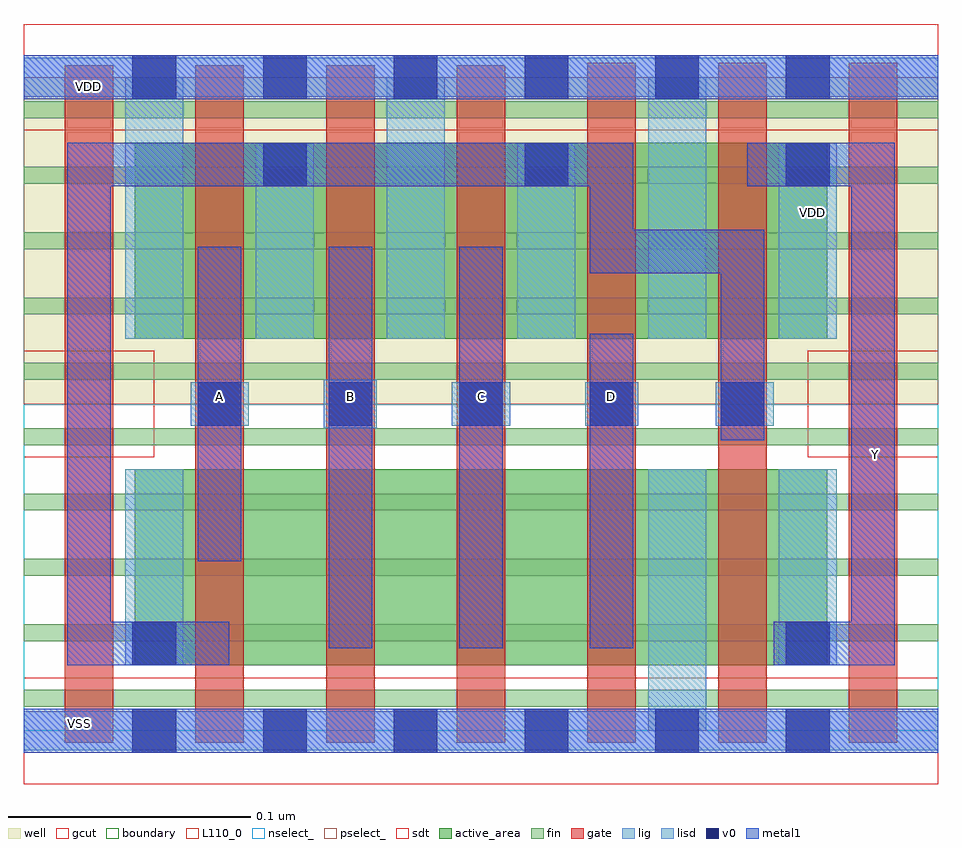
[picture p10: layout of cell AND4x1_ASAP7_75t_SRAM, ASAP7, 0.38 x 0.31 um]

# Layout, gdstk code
import gdstk
lib = gdstk.Library(unit=1e-6, precision=1e-09)
def R(c, l, rs):  # rectangles x0, y0, x1, y1
    for r in rs: c.add(gdstk.rectangle(r[:2], r[2:], *l))
def A(c, l, x, y, w, h, nx, ny, dx, dy):  # array of equal rectangles
    R(c, l, [(x+i*dx, y+j*dy, x+i*dx+w, y+j*dy+h) for i in range(nx) for j in range(ny)])
def P(c, l, *ps):  # polygons
    for p in ps: c.add(gdstk.Polygon(p, *l))
well = (1, 0)
fin = (2, 0)
gate = (7, 0)
gcut = (10, 0)
active_area = (11, 0)
nselect_ = (12, 0)
pselect_ = (13, 0)
lig = (16, 0)
lisd = (17, 0)
v0 = (18, 0)
metal1 = (19, 0)
sdt = (88, 0)
boundary = (100, 0)
L110_0 = (110, 0)

and4x1_asap7_75t_sram = lib.new_cell('AND4x1_ASAP7_75t_SRAM')
R(and4x1_asap7_75t_sram, well, [(0,0.135,0.378,0.27)])
A(and4x1_asap7_75t_sram, fin, 0, 0.01, 0.378, 0.007, 1, 10, 0, 0.027)
A(and4x1_asap7_75t_sram, gate, 0.017, -0.005, 0.02, 0.28, 4, 1, 0.054, 0)
A(and4x1_asap7_75t_sram, gate, 0.233, -0.005, 0.02, 0.281, 3, 1, 0.054, 0)
R(and4x1_asap7_75t_sram, gcut, [(0,-0.022,0.378,0.022), (0,0.113,0.054,0.157), (0.324,0.113,0.378,0.157), (0,0.248,0.378,0.292)])
R(and4x1_asap7_75t_sram, active_area, [(0.046,0.027,0.332,0.108), (0.046,0.162,0.332,0.243)])
R(and4x1_asap7_75t_sram, nselect_, [(0,0,0.378,0.135)])
R(and4x1_asap7_75t_sram, pselect_, [(0,0.135,0.378,0.27)])
R(and4x1_asap7_75t_sram, lig, [(0,-0.008,0.378,0.008), (0.124,0.125,0.146,0.145), (0.069,0.126,0.093,0.144), (0.177,0.126,0.201,0.144), (0.232,0.126,0.254,0.144), (0.286,0.126,0.31,0.144), (0,0.262,0.378,0.278)])
A(and4x1_asap7_75t_sram, lisd, 0.042, 0.162, 0.024, 0.108, 3, 1, 0.108, 0)
A(and4x1_asap7_75t_sram, lisd, 0.096, 0.162, 0.024, 0.081, 3, 1, 0.108, 0)
R(and4x1_asap7_75t_sram, lisd, [(0.258,0,0.282,0.108), (0.042,0.027,0.066,0.108), (0.312,0.027,0.336,0.108)])
A(and4x1_asap7_75t_sram, v0, 0.045, -0.009, 0.018, 0.018, 6, 2, 0.054, 0.27)
A(and4x1_asap7_75t_sram, v0, 0.072, 0.126, 0.018, 0.018, 5, 1, 0.054, 0)
A(and4x1_asap7_75t_sram, v0, 0.099, 0.225, 0.018, 0.018, 3, 1, 0.108, 0)
R(and4x1_asap7_75t_sram, v0, [(0.045,0.027,0.063,0.045), (0.315,0.027,0.333,0.045)])
R(and4x1_asap7_75t_sram, metal1, [(0,-0.009,0.378,0.009), (0.126,0.034,0.144,0.2), (0.18,0.034,0.198,0.2), (0.234,0.034,0.252,0.164), (0.072,0.07,0.09,0.2), (0,0.261,0.378,0.279)])
P(and4x1_asap7_75t_sram, metal1, [(0.306,0.207),(0.252,0.207),(0.252,0.243),(0.018,0.243),(0.018,0.027),(0.085,0.027),(0.085,0.045),(0.036,0.045),(0.036,0.225),(0.234,0.225),(0.234,0.189),(0.288,0.189),(0.288,0.12),(0.306,0.12)],
  [(0.36,0.243),(0.299,0.243),(0.299,0.225),(0.342,0.225),(0.342,0.045),(0.31,0.045),(0.31,0.027),(0.36,0.027)])
A(and4x1_asap7_75t_sram, sdt, 0.042, 0.162, 0.024, 0.081, 5, 1, 0.054, 0)
R(and4x1_asap7_75t_sram, sdt, [(0.042,0.027,0.066,0.108), (0.258,0.027,0.282,0.108), (0.258,0.027,0.282,0.108), (0.312,0.027,0.336,0.108), (0.258,0.162,0.282,0.243), (0.312,0.162,0.336,0.243)])
R(and4x1_asap7_75t_sram, boundary, [(0,0,0.378,0.27)])
R(and4x1_asap7_75t_sram, L110_0, [(0,0,0.378,0.27)])
and4x1_asap7_75t_sram.add(gdstk.Label('Y', (0.352,0.114), layer=19, texttype=251))
and4x1_asap7_75t_sram.add(gdstk.Label('A', (0.081,0.138), layer=19, texttype=251))
and4x1_asap7_75t_sram.add(gdstk.Label('B', (0.135,0.138), layer=19, texttype=251))
and4x1_asap7_75t_sram.add(gdstk.Label('C', (0.189,0.138), layer=19, texttype=251))
and4x1_asap7_75t_sram.add(gdstk.Label('D', (0.243,0.138), layer=19, texttype=251))
and4x1_asap7_75t_sram.add(gdstk.Label('VDD', (0.027,0.266), layer=19, texttype=251))
and4x1_asap7_75t_sram.add(gdstk.Label('VSS', (0.023,0.003), layer=19, texttype=251))
and4x1_asap7_75t_sram.add(gdstk.Label('VDD', (0.326,0.214), layer=1, texttype=251))
and4x1_asap7_75t_sram.add(gdstk.Label('VSS', (0.232,-0.037), layer=3, texttype=251))

lib.write_gds('AND4x1_ASAP7_75t_SRAM.gds')
